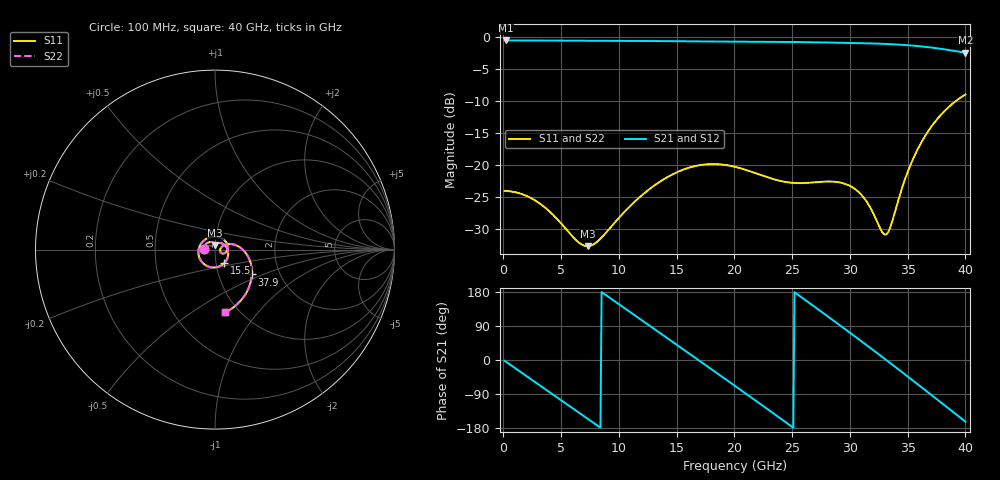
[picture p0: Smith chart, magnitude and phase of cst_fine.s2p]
! C_s8_nonfp: L1→L8, antipad Ø0.9, non-functional pads removed
! stackup: 8-layer 1.6 mm FR-4 (generic)
! ports: 1, 2
! CST Studio Suite 2025.5 Release from 2025-05-30, time domain (FIT, hexahedral, PBA), 386496 mesh cells, 71 s
! mesh: {'lpw': 30.0, 'lpb': 30.0, 'minstep': 0.0, 'ratio': 20}; ports: port 1 (face); port 2 (face)
! interpolated from CST's 1001 samples to the case grid
# Hz S RI R 50
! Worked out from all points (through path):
!   400 points, 100 MHz to 40 GHz, reference 50 ohm
!   highest |S21| = -0.56 dB at 200 MHz (marker M1); lowest = -2.5 dB at 40 GHz (marker M2)
!   group delay of S21, straight-line fit = 60.9 ps
!   lowest |S11| = -32.7 dB at 7.3 GHz (marker M3), VSWR 1.05, Z = 50 + j2.33 ohm
!   |S11| at or under -10 dB: start of sweep to 39.18 GHz
!   |S22| runs from -32.7 to -9.0 dB; largest |S21 - S12| = 2.2e-07
!   S11 on the Smith chart (normalised r, x): 100 MHz: 0.88, +0.00; 15.5 GHz: 1.09, -0.17; 37.9 GHz: 1.44, -0.43; 40 GHz: 0.86, -0.69
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1e8  -0.0628 0.00205  0.9367 -0.0348  0.9367 -0.0348  -0.0628 0.00205
2e8  -0.0626 0.0041  0.9348 -0.0695  0.9348 -0.0695  -0.0626 0.0041
1.8e9  -0.0487 0.0322  0.7358 -0.5802  0.7358 -0.5802  -0.0487 0.0322
3.7e9  -0.0183 0.0419  0.1845 -0.9178  0.1845 -0.9178  -0.0183 0.0419
6.8e9  0.00108 0.0239  -0.7613 -0.5425  -0.7613 -0.5425  0.00108 0.0239
7.3e9  0.00046 0.0233  -0.8482 -0.3924  -0.8482 -0.3924  0.000457 0.0233
9.9e9  0.0124 0.0357  -0.803 0.4753  -0.803 0.4753  0.0124 0.0357
1.17e10  0.0458 0.0307  -0.3321 0.8698  -0.3321 0.8698  0.0458 0.0307
1.34e10  0.0722 -0.00794  0.2478 0.8943  0.2478 0.8943  0.0722 -0.00794
1.55e10  0.0506 -0.0763  0.8037 0.4555  0.8037 0.4555  0.0506 -0.0763
1.77e10  -0.0306 -0.0967  0.877 -0.2792  0.877 -0.2792  -0.0306 -0.0967
2.01e10  -0.0912 -0.0318  0.3229 -0.8598  0.3229 -0.8598  -0.0912 -0.0318
2.19e10  -0.0816 0.0271  -0.2915 -0.8697  -0.2915 -0.8697  -0.0816 0.0271
2.39e10  -0.0402 0.0638  -0.8099 -0.4249  -0.8099 -0.4249  -0.0403 0.0638
2.67e10  0.0286 0.0672  -0.7512 0.5092  -0.7512 0.5092  0.0285 0.0672
2.83e10  0.062 0.041  -0.3123 0.8468  -0.3123 0.8468  0.062 0.041
2.98e10  0.07 0.00301  0.2085 0.873  0.2085 0.873  0.07 0.00302
3.18e10  0.0406 -0.0215  0.7616 0.4587  0.7616 0.4587  0.0406 -0.0215
3.34e10  0.0306 0.00531  0.8734 -0.0909  0.8734 -0.0909  0.0306 0.0053
3.58e10  0.1276 0.0193  0.3931 -0.752  0.3931 -0.752  0.1276 0.0193
3.79e10  0.2052 -0.1385  -0.3074 -0.7454  -0.3074 -0.7454  0.2052 -0.1385
4e10  0.056 -0.3503  -0.717 -0.2254  -0.717 -0.2254  0.056 -0.3503
